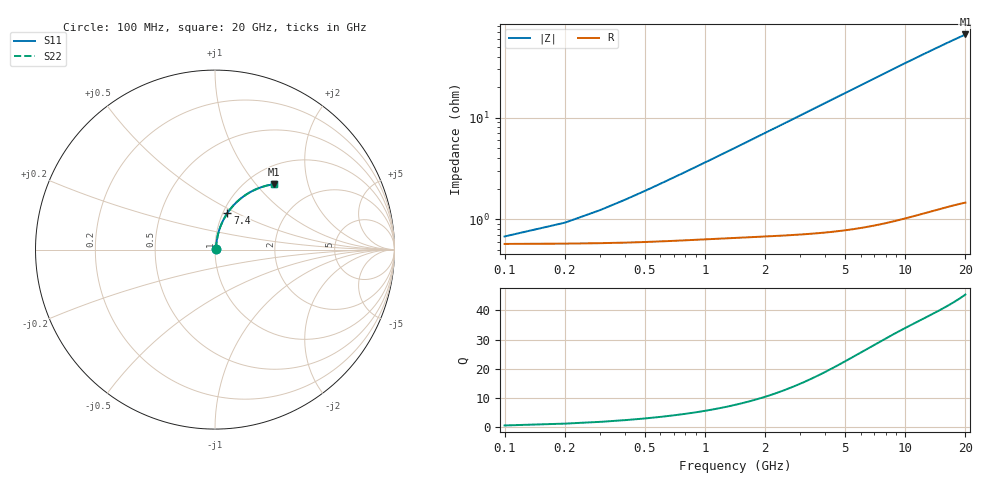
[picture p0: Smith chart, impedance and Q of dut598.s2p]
! Touchstone file exported from HFSS 2026.1.0
!  File:  C:/ffzhzh/LocalFiles/Ansys_Project_Files/temp_train_BSMRDL_598_1783015986_55676.aedt
!  Generated:  02:14:32 AM Jul  3, 2026
!  Design:  BSMRDL
!  Project:  temp_train_BSMRDL_598_1783015986_55676
! Variables:
!  h_bsmrdl = 2.72um
!  h_ox = 20um
!  h_rdl = 5um
!  h_sub = 80um
!  h_tmrdl = 5um
!  h_tsv = 80um
!  h_via = 3um
!  l_bsmrdl = 482.98um
!  l_sub = 882.98um
!  l_tmrdl = 200um
!  m_sub = 200um
!  pitch = 51.57um
!  r_tsv = 6um
!  s_tmrdl = 10um
!  w_bsmrdl = 11.24um
!  w_sub = 500um
!  w_tmrdl = 12um
!  x_tsv_center1 = 206um
!  x_tsv_center2 = 700.22um
!  x_tsv_center3 = 912.22um
!  x_tsv_center4 = 1406.44um
!  x_tsv_center5 = 1618.44um
!  x_tsv_center6 = 2112.66um
# GHz S MA R 50.000000
! Terminal data exported
! Port[1] = BSM_RDL1_1_T1
! Port[2] = BSM_RDL1_1_T2
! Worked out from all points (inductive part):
!   200 points, 100 MHz to 20 GHz, reference 50 ohm
!   read as one part in series: L = 569 pH near 500 MHz
!   highest Q = 45.4 at 20 GHz (marker M1), where L = 525 pH
!   S11 on the Smith chart (normalised r, x): 100 MHz: 1.01, +0.01; 7.4 GHz: 1.05, +0.45; 20 GHz: 1.30, +1.24
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0.1  0.006469 28.6  0.9943 -0.2  0.9943 -0.2  0.006469 28.6
! Gamma 0 0 0 0
! Port Impedance 50 0 50 0
0.3  0.01097 57.6  0.9942 -0.7  0.9942 -0.7  0.01097 57.6
0.4  0.01372 63.9  0.9941 -0.9  0.9941 -0.9  0.01372 63.9
0.5  0.01657 67.9  0.994 -1.2  0.994 -1.2  0.01657 67.9
0.6  0.01947 70.7  0.9938 -1.4  0.9938 -1.4  0.01947 70.7
0.7  0.02239 72.7  0.9937 -1.6  0.9937 -1.6  0.02239 72.7
0.9  0.02826 75.2  0.9934 -2.1  0.9934 -2.1  0.02826 75.2
1.2  0.03709 77.3  0.9929 -2.7  0.9929 -2.7  0.03709 77.3
1.4  0.04299 78.1  0.9926 -3.2  0.9926 -3.2  0.04299 78.1
1.7  0.05184 78.8  0.9921 -3.9  0.9921 -3.9  0.05184 78.8
2.2  0.0666 79.2  0.9911 -5.0  0.9911 -5.0  0.0666 79.2
2.8  0.08427 78.9  0.9896 -6.3  0.9896 -6.3  0.08427 78.9
3.5  0.1048 78.2  0.9874 -7.9  0.9874 -7.9  0.1048 78.2
4.2  0.1251 77.2  0.9848 -9.5  0.9848 -9.5  0.1251 77.2
5  0.1481 75.8  0.9814 -11.2  0.9814 -11.2  0.1481 75.8
6.8  0.1985 72.4  0.9718 -15.2  0.9718 -15.2  0.1985 72.4
7.4  0.2148 71.3  0.9681 -16.4  0.9681 -16.4  0.2148 71.3
8.7  0.2493 68.7  0.9594 -19.2  0.9594 -19.2  0.2493 68.7
10.1  0.2849 66.0  0.9489 -22.1  0.9489 -22.1  0.2849 66.0
13.4  0.3624 59.6  0.9211 -28.6  0.9211 -28.6  0.3624 59.6
16.7  0.4304 53.7  0.8907 -34.7  0.8907 -34.7  0.4304 53.7
20  0.4891 48.1  0.8596 -40.4  0.8596 -40.4  0.4891 48.1
